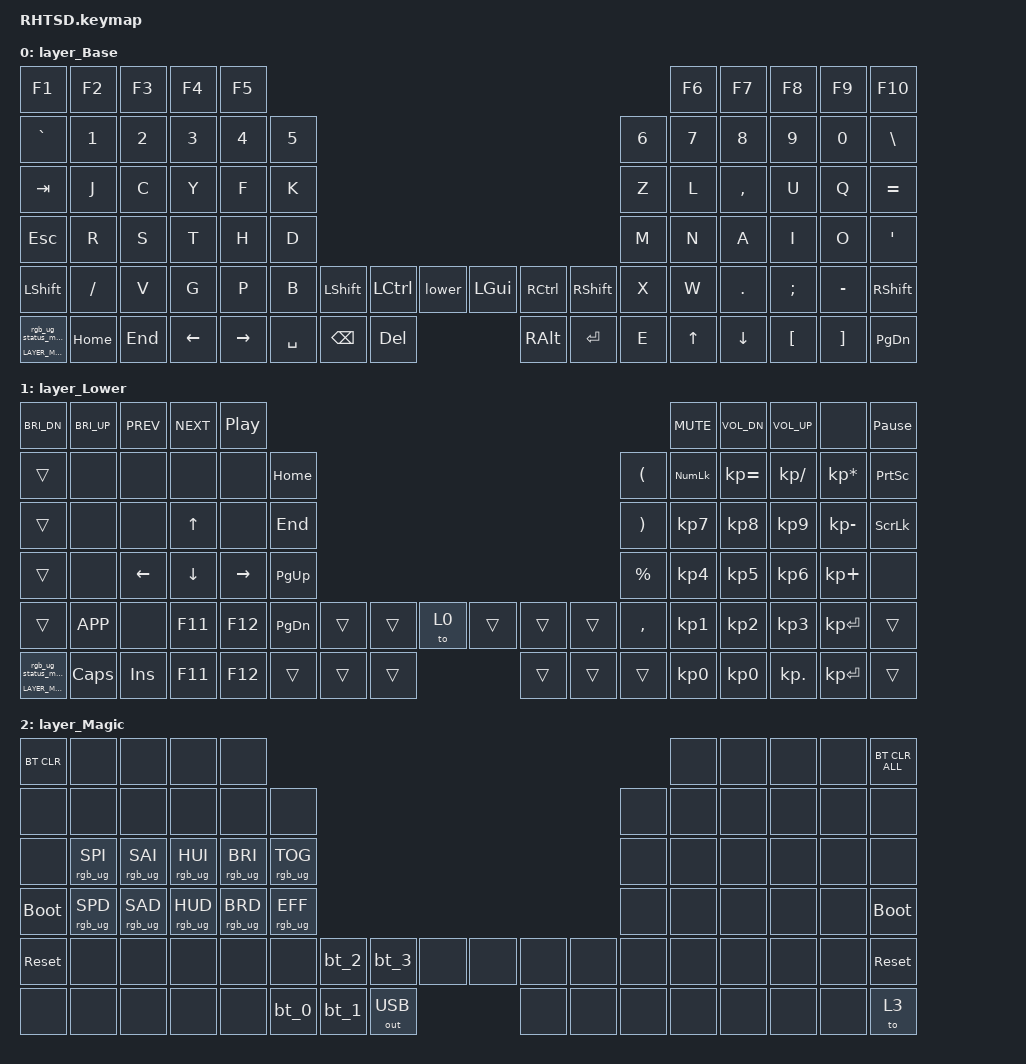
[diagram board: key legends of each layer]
// RSTHD keyboard layout
// https://xsznix.wordpress.com/2016/05/16/introducing-the-rsthd-layout/

#include <behaviors.dtsi>
#include <dt-bindings/zmk/outputs.h>
#include <dt-bindings/zmk/keys.h>
#include <dt-bindings/zmk/bt.h>
#include <dt-bindings/zmk/rgb.h>

/* Automatically generated layer name #define */
#define LAYER_Base 0
#define LAYER_Lower 1
#define LAYER_Magic 2

/ {
    behaviors {
        // For the "layer" key, it'd nice to be able to use it as either a shift or a toggle.
        // Configure it as a tap dance, so the first tap (or hold) is a &mo and the second tap is a &to
        lower: lower {
            compatible = "zmk,behavior-tap-dance";
            label = "LAYER_TAP_DANCE";
            #binding-cells = <0>;
            tapping-term-ms = <200>;
            bindings = <&mo LAYER_Lower>, <&to LAYER_Lower>;
        };

        magic: magic {
            compatible = "zmk,behavior-hold-tap";
            label = "MAGIC_HOLD_TAP";
            #binding-cells = <2>;
            flavor = "tap-preferred";
            tapping-term-ms = <200>;
            bindings = <&mo>, <&rgb_ug_status_macro>;
        };
    };

    macros {
        rgb_ug_status_macro: rgb_ug_status_macro {
            label = "RGB_UG_STATUS";
            compatible = "zmk,behavior-macro";
            #binding-cells = <0>;
            bindings
                = <&rgb_ug RGB_STATUS>;
        };
        bt_0: bt_0 {
            label = "BT_0";
            compatible = "zmk,behavior-macro";
            #binding-cells = <0>;
            bindings
                = <&out OUT_BLE>,
                  <&bt BT_SEL 0>;
        };
        bt_1: bt_1 {
            label = "BT_1";
            compatible = "zmk,behavior-macro";
            #binding-cells = <0>;
            bindings
                = <&out OUT_BLE>,
                  <&bt BT_SEL 1>;
        };
        bt_2: bt_2 {
            label = "BT_2";
            compatible = "zmk,behavior-macro";
            #binding-cells = <0>;
            bindings
                = <&out OUT_BLE>,
                  <&bt BT_SEL 2>;
        };
        bt_3: bt_3 {
            label = "BT_3";
            compatible = "zmk,behavior-macro";
            #binding-cells = <0>;
            bindings
                = <&out OUT_BLE>,
                  <&bt BT_SEL 3>;
        };
    };

    keymap {
        compatible = "zmk,keymap";

        layer_Base {
            bindings = <
               &kp F1    &kp F2   &kp F3    &kp F4     &kp F5                                                                                 &kp F6     &kp F7    &kp F8     &kp F9    &kp F10
            &kp GRAVE    &kp N1   &kp N2    &kp N3     &kp N4  &kp N5                                                                 &kp N6  &kp N7     &kp N8    &kp N9     &kp N0   &kp BSLH
              &kp TAB     &kp J    &kp C     &kp Y      &kp F   &kp K                                                                  &kp Z   &kp L  &kp COMMA     &kp U      &kp Q  &kp EQUAL
              &kp ESC     &kp R    &kp S     &kp T      &kp H   &kp D                                                                  &kp M   &kp N      &kp A     &kp I      &kp O    &kp SQT
            &kp LSHFT  &kp FSLH    &kp V     &kp G      &kp P   &kp B  &kp LSHFT  &kp LCTRL   &lower  &kp LGUI  &kp RCTRL  &kp RSHFT   &kp X   &kp W    &kp DOT  &kp SEMI  &kp MINUS  &kp RSHFT
 &magic LAYER_Magic 0  &kp HOME  &kp END  &kp LEFT  &kp RIGHT          &kp SPACE   &kp BSPC  &kp DEL  &kp RALT    &kp RET      &kp E          &kp UP   &kp DOWN  &kp LBKT   &kp RBKT  &kp PG_DN
            >;
        };

        layer_Lower {
            bindings = <
         &kp C_BRI_DN  &kp C_BRI_UP      &kp C_PREV      &kp C_NEXT         &kp C_PP                                                                                    &kp C_MUTE  &kp C_VOL_DN  &kp C_VOL_UP            &none  &kp PAUSE_BREAK
               &trans         &none           &none           &none            &none   &kp HOME                                                   &kp LEFT_PARENTHESIS  &kp KP_NUM  &kp KP_EQUAL  &kp KP_SLASH  &kp KP_MULTIPLY  &kp PRINTSCREEN
               &trans         &none           &none    &kp UP_ARROW            &none    &kp END                                                  &kp RIGHT_PARENTHESIS   &kp KP_N7     &kp KP_N8     &kp KP_N9     &kp KP_MINUS   &kp SCROLLLOCK
               &trans         &none  &kp LEFT_ARROW  &kp DOWN_ARROW  &kp RIGHT_ARROW  &kp PG_UP                                                            &kp PERCENT   &kp KP_N4     &kp KP_N5     &kp KP_N6      &kp KP_PLUS            &none
               &trans     &kp K_APP           &none         &kp F11          &kp F12  &kp PG_DN  &trans  &trans   &to 0  &trans  &trans  &trans              &kp COMMA   &kp KP_N1     &kp KP_N2     &kp KP_N3     &kp KP_ENTER           &trans
 &magic LAYER_Magic 0      &kp CAPS         &kp INS         &kp F11          &kp F12             &trans  &trans  &trans  &trans  &trans  &trans                          &kp KP_N0     &kp KP_N0    &kp KP_DOT     &kp KP_ENTER           &trans
            >;
        };

        layer_Magic {
            bindings = <
  &bt BT_CLR            &none            &none            &none            &none                                                                                  &none   &none   &none   &none  &bt BT_CLR_ALL
       &none            &none            &none            &none            &none            &none                                                         &none   &none   &none   &none   &none           &none
       &none  &rgb_ug RGB_SPI  &rgb_ug RGB_SAI  &rgb_ug RGB_HUI  &rgb_ug RGB_BRI  &rgb_ug RGB_TOG                                                         &none   &none   &none   &none   &none           &none
 &bootloader  &rgb_ug RGB_SPD  &rgb_ug RGB_SAD  &rgb_ug RGB_HUD  &rgb_ug RGB_BRD  &rgb_ug RGB_EFF                                                         &none   &none   &none   &none   &none     &bootloader
  &sys_reset            &none            &none            &none            &none            &none   &bt_2   &bt_3         &none   &none   &none   &none   &none   &none   &none   &none   &none      &sys_reset
       &none            &none            &none            &none            &none                    &bt_0   &bt_1  &out OUT_USB   &none   &none   &none           &none   &none   &none   &none           &to 3
            >;
        };
    };
};
